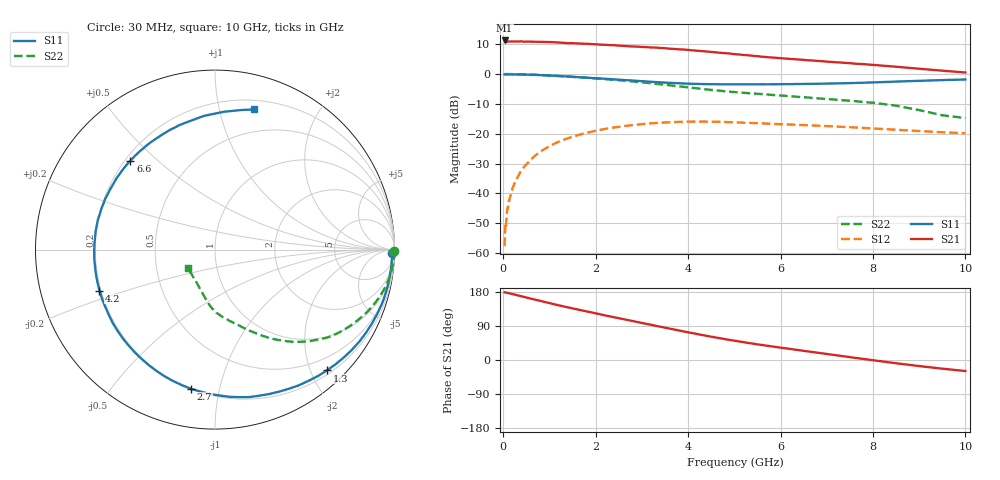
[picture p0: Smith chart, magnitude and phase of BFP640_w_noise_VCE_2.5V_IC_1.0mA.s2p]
! Infineon Technologies  Discrete & RF Semiconductors
! BFP640
! VCE =  2.5 V,  IC =  1.0 mA
! Common Emitter S-Parameters:  Apr 2013
# GHz  S  MA  R  50
!  f  S11  S21  S12  S22
! GHz  MAG  ANG  MAG  ANG  MAG  ANG  MAG  ANG
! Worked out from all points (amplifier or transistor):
!   99 points, 30 MHz to 10 GHz, reference 50 ohm
!   highest |S21| = 11.3 dB at 30 MHz (marker M1)
!   |S21| within 3 dB of that: start of sweep to 3.84 GHz
!   unconditionally stable (mu >= 1): 7.069 GHz to end of sweep
!   at 350 MHz: K = 0.00, MSG = 22.2 dB, |S12| = -33.4 dB
!   at 3.5 GHz: K = 0.44, MSG = 12.5 dB, |S12| = -16.2 dB
!   at 10 GHz: K = 1.44, MAG = 6.2 dB, |S12| = -19.9 dB
!   lowest NFmin = 0.65 dB at 450 MHz
!   S11 on the Smith chart (normalised r, x): 30 MHz: 48, -72; 1.3 GHz: 0.27, -2.26; 2.7 GHz: 0.20, -0.82; 4.2 GHz: 0.19, -0.17; 6.6 GHz: 0.22, +0.41; 10 GHz: 0.28, +1.28
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0.03  0.9872 -1.1  3.658 178.7  0.0013 86.9  0.9996 -0.6
0.04  0.9881 -1.4  3.46 178.4  0.0023 87.0  0.9996 -0.8
0.05  0.9892 -1.7  3.459 178.5  0.0032 70.8  0.9991 -1.0
0.06  0.9887 -2.1  3.48 177.9  0.0029 105.9  0.9973 -1.1
0.09  0.9868 -3.2  3.465 177.1  0.0056 86.0  0.9993 -1.6
0.12  0.9866 -4.3  3.518 176.3  0.0075 87.4  0.9983 -2.1
0.35  0.9827 -12.5  3.512 169.5  0.0213 84.1  0.9917 -6.3
0.8  0.9604 -28.9  3.465 156.1  0.0497 72.9  0.9636 -14.0
1.3  0.9174 -47.2  3.338 141.6  0.0787 60.2  0.9179 -22.0
1.7  0.8785 -61.8  3.232 130.9  0.0986 50.9  0.8771 -27.7
2.2  0.8331 -80.7  3.096 117.8  0.12 39.6  0.8226 -34.8
2.7  0.7868 -99.8  2.928 105.4  0.1364 29.2  0.7641 -41.0
3.4  0.7259 -128.1  2.74 87.8  0.1526 15.4  0.6733 -49.7
4.2  0.6829 -160.5  2.46 68.4  0.1596 0.7  0.5754 -58.7
4.6  0.6748 -175.4  2.31 59.3  0.1584 -5.8  0.5333 -62.6
5.1  0.6723 168.4  2.129 49.0  0.1542 -12.7  0.4924 -66.8
5.9  0.6738 148.3  1.874 34.4  0.1453 -21.3  0.4418 -72.6
6.6  0.6841 133.5  1.702 22.5  0.1385 -27.4  0.4039 -78.8
6.7  0.6858 131.4  1.687 20.9  0.1372 -28.0  0.3967 -79.7
7.5  0.7049 114.7  1.523 7.6  0.1284 -33.8  0.3562 -87.7
8.5  0.7474 94.8  1.326 -8.6  0.1164 -38.8  0.2951 -98.2
10  0.8107 74.4  1.061 -29.1  0.1017 -39.9  0.1831 -146.3
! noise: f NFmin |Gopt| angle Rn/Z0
0.45  0.65  0.65  13  0.46
0.9  0.72  0.66  25  0.45
1.5  0.9  0.57  42  0.42
1.9  0.97  0.53  56  0.41
2.4  1.04  0.5  66  0.39
3.5  1.24  0.43  95  0.34
5.5  1.75  0.38  -177  0.34
10  3.04  0.68  -70  1.23
